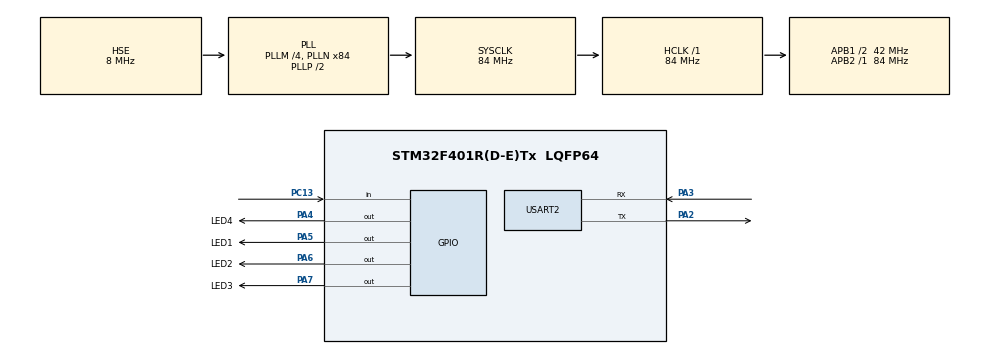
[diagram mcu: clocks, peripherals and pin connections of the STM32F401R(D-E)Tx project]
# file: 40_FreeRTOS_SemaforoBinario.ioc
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Mcu.Family=STM32F4
Mcu.Name=STM32F401R(D-E)Tx
Mcu.Package=LQFP64
NVIC.PriorityGroup=NVIC_PRIORITYGROUP_4
NVIC.TIM1_TRG_COM_TIM11_IRQn=true\:15\:0\:false\:false\:true\:false\:true\:true
NVIC.TimeBase=TIM1_TRG_COM_TIM11_IRQn
NVIC.TimeBaseIP=TIM11
NVIC.USART2_IRQn=true\:0\:0\:false\:false\:true\:true\:true\:true
PA2.Mode=Asynchronous
PA2.Signal=USART2_TX
PA3.Mode=Asynchronous
PA3.Signal=USART2_RX
PA4.GPIO_Label=LED4
PA4.Signal=GPIO_Output
PA5.GPIO_Label=LED1
PA5.Signal=GPIO_Output
PA6.GPIO_Label=LED2
PA6.Signal=GPIO_Output
PA7.GPIO_Label=LED3
PA7.Signal=GPIO_Output
PC13-ANTI_TAMP.GPIO_PuPd=GPIO_PULLUP
PC13-ANTI_TAMP.Signal=GPIO_Input
PH0\ -\ OSC_IN.Mode=HSE-External-Clock-Source
PH0\ -\ OSC_IN.Signal=RCC_OSC_IN
PH1\ -\ OSC_OUT.Mode=HSE-External-Clock-Source
PH1\ -\ OSC_OUT.Signal=RCC_OSC_OUT
ProjectManager.HeapSize=0x200
ProjectManager.StackSize=0x400
ProjectManager.TargetToolchain=STM32CubeIDE
RCC.48MHZClocksFreq_Value=42000000
RCC.AHBFreq_Value=84000000
RCC.APB1CLKDivider=RCC_HCLK_DIV2
RCC.APB1Freq_Value=42000000
RCC.APB1TimFreq_Value=84000000
RCC.APB2Freq_Value=84000000
RCC.APB2TimFreq_Value=84000000
RCC.CortexFreq_Value=84000000
RCC.HCLKFreq_Value=84000000
RCC.HSE_VALUE=8000000
RCC.HSI_VALUE=16000000
RCC.LSE_VALUE=32768
RCC.PLLM=4
RCC.PLLN=84
RCC.PLLSourceVirtual=RCC_PLLSOURCE_HSE
RCC.SYSCLKFreq_VALUE=84000000
RCC.SYSCLKSource=RCC_SYSCLKSOURCE_PLLCLK
RCC.VCOOutputFreq_Value=168000000
USART2.VirtualMode=VM_ASYNC
VP_SYS_VS_tim11.Mode=TIM11
board=custom

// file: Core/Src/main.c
/* USER CODE BEGIN Header */
/* USER CODE END Header */
#include "main.h"
#include "usart.h"
#include "gpio.h"

/* USER CODE BEGIN Includes */
#include "stdio.h"
#include "string.h"

#include "FreeRTOS.h"
#include "task.h"
#include "queue.h"
#include "semphr.h"
/* USER CODE END Includes */

/* USER CODE BEGIN PV */
xTaskHandle xTask1;
xTaskHandle xTask2;
xTaskHandle xTask3;

xSemaphoreHandle xSemphore;

/* USER CODE END PV */

void SystemClock_Config(void);
/* USER CODE BEGIN PFP */
void vTask1(void *params);
void vTask2(void *params);
void vTask3(void *params);

/* USER CODE END PFP */

/* USER CODE BEGIN 0 */
#define SYSTEM_VIEW				1

void UART_Printf(char *format,...);

/* USER CODE END 0 */

int main(void)
{

  /* USER CODE BEGIN 1 */
  BaseType_t status = 0;
  /* USER CODE END 1 */

  /* MCU Configuration--------------------------------------------------------*/

  /* Reset of all peripherals, Initializes the Flash interface and the Systick. */
  HAL_Init();

  /* Configure the system clock */
  SystemClock_Config();

  /* Initialize all configured peripherals */
  MX_GPIO_Init();
  MX_USART2_UART_Init();
  /* USER CODE BEGIN 2 */

  status = xTaskCreate(vTask1, "tarea1", configMINIMAL_STACK_SIZE, NULL, 0, &xTask1);
  configASSERT(status == pdPASS);
  status = xTaskCreate(vTask2, "tarea2", configMINIMAL_STACK_SIZE, NULL, 0, &xTask2);
  configASSERT(status == pdPASS);
  status = xTaskCreate(vTask3, "tarea3", configMINIMAL_STACK_SIZE, NULL, 0, &xTask3);
  configASSERT(status == pdPASS);

  xSemphore = xSemaphoreCreateBinary();
  configASSERT(xSemphore != NULL);

  vTaskStartScheduler();//Arrancamos el kernel

  /* USER CODE END 2 */

  /* Infinite loop */
  while(1){}

}

void SystemClock_Config(void)
{
  RCC_OscInitTypeDef RCC_OscInitStruct = {0};
  RCC_ClkInitTypeDef RCC_ClkInitStruct = {0};

  /** Configure the main internal regulator output voltage
  */
  __HAL_RCC_PWR_CLK_ENABLE();
  __HAL_PWR_VOLTAGESCALING_CONFIG(PWR_REGULATOR_VOLTAGE_SCALE2);

  /** Initializes the RCC Oscillators according to the specified parameters
  * in the RCC_OscInitTypeDef structure.
  */
  RCC_OscInitStruct.OscillatorType = RCC_OSCILLATORTYPE_HSE;
  RCC_OscInitStruct.HSEState = RCC_HSE_BYPASS;
  RCC_OscInitStruct.PLL.PLLState = RCC_PLL_ON;
  RCC_OscInitStruct.PLL.PLLSource = RCC_PLLSOURCE_HSE;
  RCC_OscInitStruct.PLL.PLLM = 4;
  RCC_OscInitStruct.PLL.PLLN = 84;
  RCC_OscInitStruct.PLL.PLLP = RCC_PLLP_DIV2;
  RCC_OscInitStruct.PLL.PLLQ = 4;
  if (HAL_RCC_OscConfig(&RCC_OscInitStruct) != HAL_OK)
  {
    Error_Handler();
  }

  /** Initializes the CPU, AHB and APB buses clocks
  */
  RCC_ClkInitStruct.ClockType = RCC_CLOCKTYPE_HCLK|RCC_CLOCKTYPE_SYSCLK
                              |RCC_CLOCKTYPE_PCLK1|RCC_CLOCKTYPE_PCLK2;
  RCC_ClkInitStruct.SYSCLKSource = RCC_SYSCLKSOURCE_PLLCLK;
  RCC_ClkInitStruct.AHBCLKDivider = RCC_SYSCLK_DIV1;
  RCC_ClkInitStruct.APB1CLKDivider = RCC_HCLK_DIV2;
  RCC_ClkInitStruct.APB2CLKDivider = RCC_HCLK_DIV1;

  if (HAL_RCC_ClockConfig(&RCC_ClkInitStruct, FLASH_LATENCY_2) != HAL_OK)
  {
    Error_Handler();
  }
}

/* USER CODE BEGIN 4 */
void vTask1(void *params){

	BaseType_t status;

	for(;;){
		UART_Printf("activa el semaforo en task1 USERBUTTON\n\r");
		while(HAL_GPIO_ReadPin(GPIOC, GPIO_PIN_13));
		status = xSemaphoreGive(xSemphore);  //libero el semaforo
		if(status == pdTRUE){
			UART_Printf("Semaforo Libre\n\r");
			HAL_GPIO_TogglePin(GPIOA, GPIO_PIN_5);
		}else{
			UART_Printf("Semaforo fail\n\r");
		}
		vTaskDelay(pdMS_TO_TICKS(1));
	}
	vTaskDelete(NULL);
}

void vTask2(void *params){
	BaseType_t status;

	for(;;){
		status = xSemaphoreTake(xSemphore,pdMS_TO_TICKS(1000)); //preguntar si se libero el semaforo cada 1seg
		if(status == pdTRUE){
			UART_Printf("Semaforo en task2\n\r");
			HAL_GPIO_TogglePin(GPIOA, GPIO_PIN_6);
			//HAL_GPIO_TogglePin(GPIOA, GPIO_PIN_5);
		}else{
			//UART_Printf("Semaforo fail\n\r");
		}
		vTaskDelay(pdMS_TO_TICKS(200));
	}
	vTaskDelete(NULL);
}

void vTask3(void *params){
	BaseType_t status;
	for(;;){
		status = xSemaphoreTake(xSemphore,pdMS_TO_TICKS(2000)); //preguntar si se libero el semaforo cada 2seg
		if(status == pdTRUE){
			UART_Printf("Semaforo en task3\n\r");
			HAL_GPIO_TogglePin(GPIOA, GPIO_PIN_7);
			//HAL_GPIO_TogglePin(GPIOA, GPIO_PIN_5);
		}else{
			//UART_Printf("Semaforo fail\n\r");
		}
		vTaskDelay(pdMS_TO_TICKS(200));
	}
	vTaskDelete(NULL);
}

void UART_Printf(char *format,...){
    char str[80];

    /*Extract the the argument list using VA apis */
    va_list args;
    va_start(args, format);
    vsprintf(str, format,args);
    HAL_UART_Transmit(&huart2, (uint8_t*)str, strlen(str), 10);
    va_end(args);
}
/* USER CODE END 4 */

void HAL_TIM_PeriodElapsedCallback(TIM_HandleTypeDef *htim)
{
  if (htim->Instance == TIM11) {
    HAL_IncTick();
  }
}

void Error_Handler(void)
{
}
